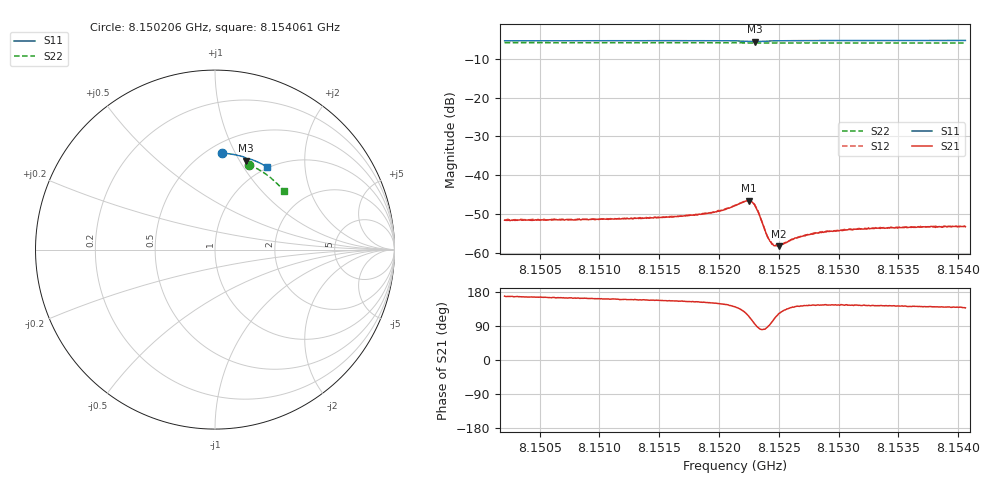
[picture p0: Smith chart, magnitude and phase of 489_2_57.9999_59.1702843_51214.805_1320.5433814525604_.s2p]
#  HZ  S  RI  R  50.00
! Rohde & Schwarz Vector Network Analyzer
! Rohde-Schwarz,ZNB20-2Port,1311601062101988,3.16
! Created: UTC 3/21/2024, 1:12:12 AM
! freq[Hz]  re:S11  im:S11  re:S21  im:S21  re:S12  im:S12  re:S22  im:S22
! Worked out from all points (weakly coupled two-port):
!   401 points, 8.150206 GHz to 8.154061 GHz, reference 50 ohm
!   highest |S21| = -46.53 dB at 8.152249 GHz (marker M1); lowest = -58.2 dB at 8.1525 GHz (marker M2)
!   lowest |S11| = -5.6 dB at 8.152298 GHz (marker M3), VSWR 3.21, Z = 39 + j53.4 ohm
!   |S11| at or under -10 dB: nowhere
!   |S22| runs from -6.0 to -5.9 dB; largest |S21 - S12| = 0.0001
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8.1502061e9  0.0375 0.5371  -0.00259 0.000523  -0.00258 0.000589  0.1887 0.4733
8.1508519e9  0.0824 0.5332  -0.00258 0.000787  -0.00258 0.000828  0.2262 0.4558
8.1514976e9  0.1272 0.5252  -0.00263 0.0011  -0.00265 0.00117  0.262 0.4348
8.1516711e9  0.1394 0.5223  -0.0027 0.00124  -0.00269 0.00128  0.2713 0.4288
8.1519217e9  0.1573 0.517  -0.00287 0.00157  -0.00287 0.00161  0.2844 0.42
8.1520373e9  0.1663 0.5136  -0.003 0.00193  -0.00301 0.00198  0.2903 0.4156
8.1521337e9  0.1737 0.5088  -0.00314 0.00259  -0.00312 0.00268  0.2953 0.4117
8.1522108e9  0.1783 0.502  -0.00278 0.00363  -0.00277 0.00372  0.2991 0.4086
8.1522493e9  0.1779 0.4976  -0.00202 0.00426  -0.00197 0.00433  0.3008 0.407
8.1522782e9  0.1755 0.4955  -0.00106 0.00438  -0.00103 0.00441  0.302 0.4059
8.1522975e9  0.1734 0.4956  -0.000414 0.00414  -0.000394 0.0042  0.303 0.4052
8.1523264e9  0.1714 0.4979  0.000254 0.00339  0.000311 0.00346  0.3041 0.4043
8.1523939e9  0.1745 0.5043  0.000198 0.00178  0.000224 0.00178  0.3078 0.4019
8.1524228e9  0.1774 0.5054  -5.79e-05 0.00147  -2.37e-05 0.00144  0.3092 0.4008
8.1524614e9  0.1811 0.5062  -0.000383 0.00118  -0.000342 0.0012  0.3113 0.3993
8.1524999e9  0.1847 0.5062  -0.000656 0.00103  -0.000652 0.00109  0.3131 0.3977
8.1526252e9  0.1952 0.5042  -0.00115 0.000989  -0.00114 0.00101  0.3192 0.3926
8.1527794e9  0.2065 0.5009  -0.00143 0.00101  -0.00143 0.00106  0.3266 0.3863
8.1528565e9  0.212 0.4989  -0.0015 0.00105  -0.00153 0.0011  0.3304 0.3829
8.1530782e9  0.2268 0.4929  -0.00162 0.00116  -0.00159 0.00117  0.3408 0.3734
8.1534251e9  0.2491 0.4828  -0.00168 0.00125  -0.00167 0.0013  0.356 0.3578
8.1540612e9  0.288 0.4618  -0.00161 0.00147  -0.00165 0.00151  0.3825 0.3278
